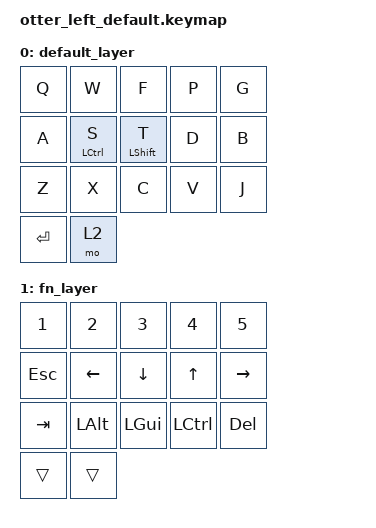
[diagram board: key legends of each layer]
/ {
  keymap {
    compatible = "zmk,keymap";

    default_layer {
      bindings = <
        &kp Q     &kp W       &kp F        &kp P       &kp G
        &kp A     &mt LCTRL S &mt LSHFT T  &kp D       &kp B
        &kp Z     &kp X       &kp C        &kp V       &kp J
        &kp ENTER &mo 2
      >;
    };

    fn_layer {
      bindings = <
        &kp 1     &kp 2       &kp 3        &kp 4       &kp 5
        &kp ESC   &kp LEFT    &kp DOWN     &kp UP      &kp RIGHT
        &kp TAB   &kp LALT    &kp LGUI     &kp LCTRL   &kp DEL
        &trans    &trans
      >;
    };
  };
};
